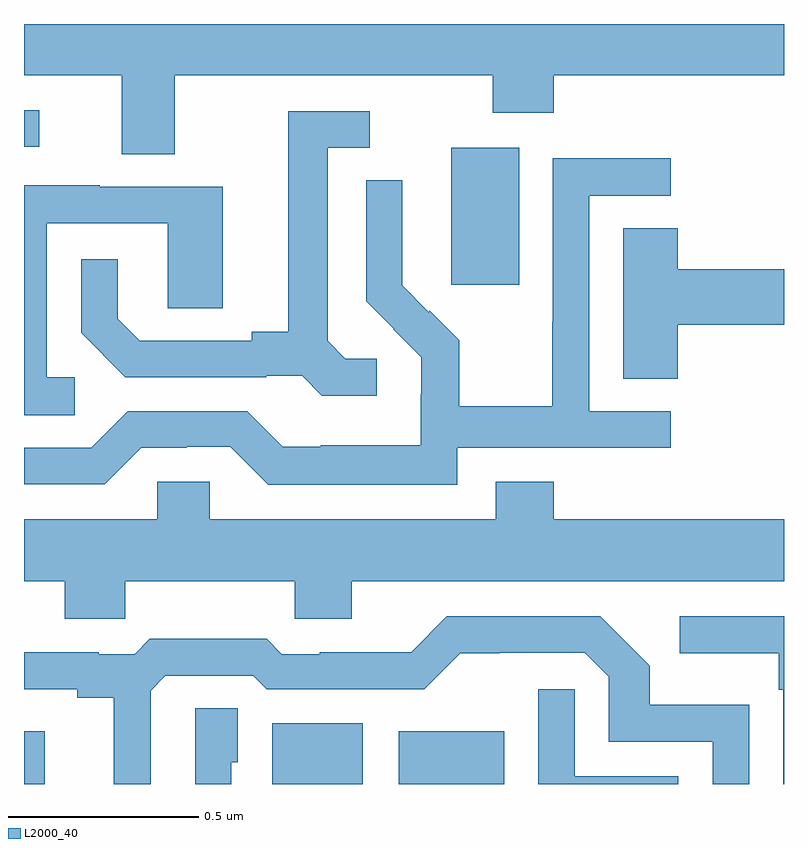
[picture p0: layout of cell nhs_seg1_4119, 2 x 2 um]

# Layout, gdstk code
import gdstk
lib = gdstk.Library(unit=1e-6, precision=1e-09)
def R(c, l, rs):  # rectangles x0, y0, x1, y1
    for r in rs: c.add(gdstk.rectangle(r[:2], r[2:], *l))
def P(c, l, *ps):  # polygons
    for p in ps: c.add(gdstk.Polygon(p, *l))
L2000_40 = (2000, 40)

nhs_seg1_4119 = lib.new_cell('nhs_seg1_4119')
R(nhs_seg1_4119, L2000_40, [(162,551.199,162.055,551.338), (162.653,551.199,162.892,551.359), (162.986,551.199,163.264,551.338), (163.124,552.513,163.303,552.874), (162,552.876,162.04,552.972)])
P(nhs_seg1_4119, L2000_40, [(162.397,553.064),(163.234,553.064),(163.234,552.965),(163.394,552.965),(163.394,553.064),(164,553.064),(164,553.199),(162,553.199),(162,553.064),(162.257,553.064),(162.257,552.856),(162.397,552.856)],
  [(162.928,552.318),(162.846,552.318),(162.799,552.365),(162.799,552.873),(162.91,552.873),(162.91,552.969),(162.695,552.969),(162.695,552.389),(162.599,552.389),(162.599,552.366),(162.304,552.366),(162.247,552.423),(162.247,552.58),(162.15,552.58),(162.15,552.386),(162.266,552.27),(162.638,552.27),(162.638,552.273),(162.732,552.273),(162.784,552.221),(162.928,552.221)],
  [(163.14,552.084),(163.702,552.084),(163.702,552.18),(163.488,552.18),(163.488,552.747),(163.702,552.747),(163.702,552.846),(163.392,552.846),(163.392,552.416),(163.39,552.416),(163.39,552.193),(163.145,552.193),(163.145,552.367),(163.068,552.444),(163.065,552.441),(162.995,552.512),(162.995,552.634),(162.996,552.634),(162.996,552.788),(162.9,552.788),(162.9,552.47),(162.973,552.397),(162.972,552.396),(163.046,552.322),(163.046,552.225),(163.044,552.225),(163.044,552.091),(162.781,552.091),(162.781,552.087),(162.681,552.087),(162.588,552.18),(162.273,552.18),(162.177,552.084),(162,552.084),(162,551.988),(162.213,551.988),(162.309,552.084),(162.428,552.084),(162.428,552.087),(162.543,552.087),(162.643,551.987),(163.14,551.987)],
  [(162.133,552.27),(162.06,552.27),(162.06,552.675),(162.378,552.675),(162.378,552.451),(162.523,552.451),(162.523,552.771),(162.199,552.771),(162.199,552.775),(162,552.775),(162,552.169),(162.133,552.169)],
  [(163.721,552.407),(164,552.407),(164,552.554),(163.721,552.554),(163.721,552.662),(163.577,552.662),(163.577,552.265),(163.721,552.265)],
  [(162.267,551.732),(162.712,551.732),(162.712,551.634),(162.862,551.634),(162.862,551.732),(164,551.732),(164,551.896),(163.394,551.896),(163.394,551.995),(163.241,551.995),(163.241,551.896),(162.489,551.896),(162.489,551.994),(162.351,551.994),(162.351,551.896),(162,551.896),(162,551.732),(162.107,551.732),(162.107,551.634),(162.267,551.634)],
  [(164,551.64),(163.725,551.64),(163.725,551.543),(163.986,551.543),(163.986,551.447),(163.998,551.447),(163.998,551.199),(164,551.199)],
  [(162.333,551.445),(162.372,551.484),(162.603,551.484),(162.639,551.448),(163.053,551.448),(163.148,551.543),(163.252,551.543),(163.252,551.544),(163.476,551.544),(163.539,551.481),(163.539,551.31),(163.812,551.31),(163.812,551.199),(163.908,551.199),(163.908,551.407),(163.647,551.407),(163.647,551.51),(163.516,551.64),(163.113,551.64),(163.019,551.546),(162.778,551.546),(162.778,551.541),(162.678,551.541),(162.639,551.581),(162.331,551.581),(162.291,551.541),(162.197,551.541),(162.197,551.546),(162,551.546),(162,551.448),(162.14,551.448),(162.14,551.426),(162.236,551.426),(162.236,551.199),(162.333,551.199)],
  [(163.722,551.22),(163.449,551.22),(163.449,551.449),(163.353,551.449),(163.353,551.199),(163.722,551.199)],
  [(162.546,551.256),(162.562,551.256),(162.562,551.399),(162.45,551.399),(162.45,551.199),(162.546,551.199)])

lib.write_gds('nhs_seg1_4119.gds')
